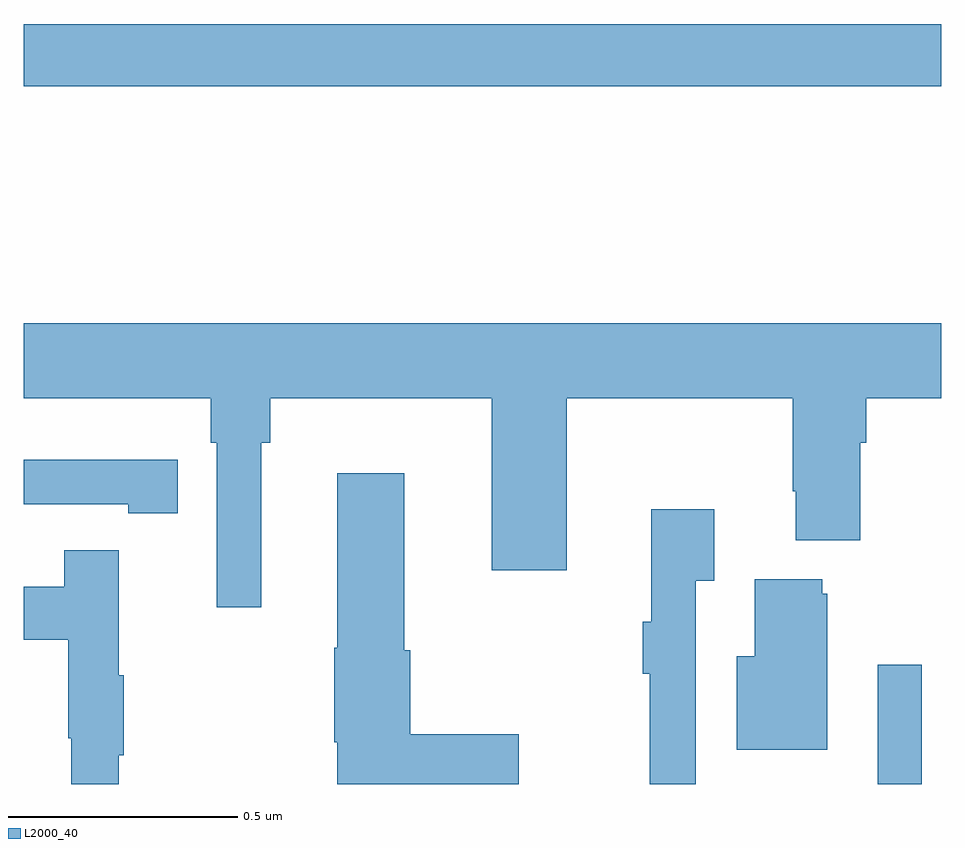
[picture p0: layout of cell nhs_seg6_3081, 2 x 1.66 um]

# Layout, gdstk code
import gdstk
lib = gdstk.Library(unit=1e-6, precision=1e-09)
def R(c, l, rs):  # rectangles x0, y0, x1, y1
    for r in rs: c.add(gdstk.rectangle(r[:2], r[2:], *l))
def P(c, l, *ps):  # polygons
    for p in ps: c.add(gdstk.Polygon(p, *l))
L2000_40 = (2000, 40)

nhs_seg6_3081 = lib.new_cell('nhs_seg6_3081')
R(nhs_seg6_3081, L2000_40, [(153.861,942.5,153.957,942.76), (152,944.02,154,944.156)])
P(nhs_seg6_3081, L2000_40, [(152.518,943.244),(152.537,943.244),(152.537,943.34),(153.02,943.34),(153.02,942.966),(153.184,942.966),(153.184,943.34),(153.676,943.34),(153.676,943.138),(153.683,943.138),(153.683,943.031),(153.823,943.031),(153.823,943.244),(153.836,943.244),(153.836,943.34),(154,943.34),(154,943.504),(152,943.504),(152,943.34),(152.408,943.34),(152.408,943.244),(152.421,943.244),(152.421,942.885),(152.518,942.885)],
  [(152.336,943.206),(152.228,943.206),(152.228,943.207),(152,943.207),(152,943.11),(152.228,943.11),(152.228,943.09),(152.336,943.09)],
  [(153.079,942.608),(152.843,942.608),(152.843,942.791),(152.83,942.791),(152.83,943.177),(152.684,943.177),(152.684,942.797),(152.677,942.797),(152.677,942.591),(152.684,942.591),(152.684,942.5),(153.079,942.5)],
  [(153.465,942.943),(153.505,942.943),(153.505,943.099),(153.368,943.099),(153.368,942.854),(153.349,942.854),(153.349,942.74),(153.364,942.74),(153.364,942.5),(153.465,942.5)],
  [(152.207,942.563),(152.218,942.563),(152.218,942.737),(152.207,942.737),(152.207,943.009),(152.089,943.009),(152.089,942.93),(152,942.93),(152,942.814),(152.097,942.814),(152.097,942.6),(152.104,942.6),(152.104,942.5),(152.207,942.5)],
  [(153.751,942.915),(153.74,942.915),(153.74,942.946),(153.593,942.946),(153.593,942.778),(153.554,942.778),(153.554,942.575),(153.751,942.575)])

lib.write_gds('nhs_seg6_3081.gds')
